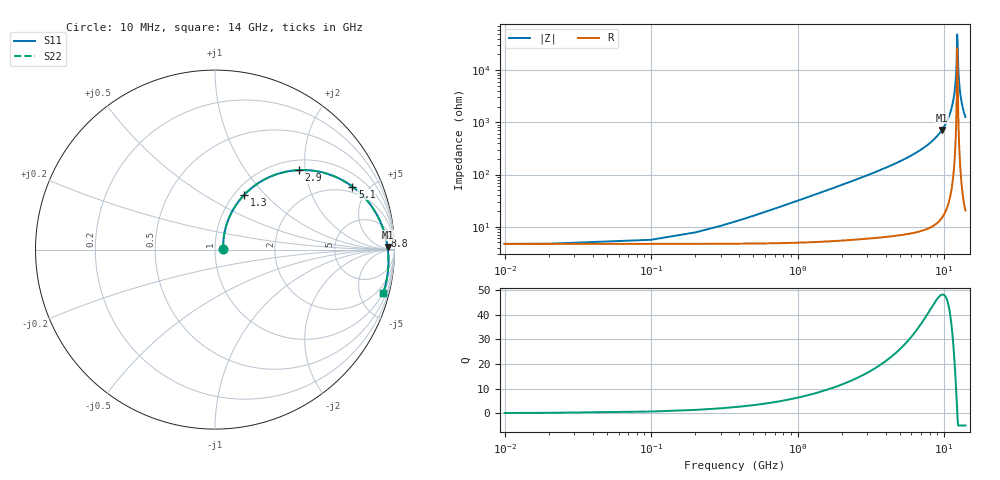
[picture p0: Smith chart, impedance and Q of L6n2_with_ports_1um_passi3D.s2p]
#  GHZ S DB R 50.0
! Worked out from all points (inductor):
!   142 points, 10 MHz to 14 GHz, reference 50 ohm
!   read as one part in series: L = 4.93 nH near 500 MHz
!   highest Q = 48.2 at 9.7 GHz (marker M1), where L = 11.8 nH
!   self-resonance near 12.3 GHz
!   S11 on the Smith chart (normalised r, x): 10 MHz: 1.09, +0.01; 1.3 GHz: 1.11, +0.77; 2.9 GHz: 1.22, +1.84; 5.1 GHz: 1.63, +3.93; 8.8 GHz: 11, +18; 14 GHz: 1.00, -7.69
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0.01  -26.96 3.3  -0.40 -0.2  -0.40 -0.2  -26.96 3.3
0.6  -15.39 65.8  -0.58 -10.7  -0.58 -10.7  -15.40 65.8
1.3  -9.17 61.8  -1.10 -22.1  -1.10 -22.1  -9.18 61.8
2.4  -4.91 49.0  -2.36 -37.6  -2.36 -37.6  -4.91 49.0
2.9  -3.83 43.5  -3.07 -43.5  -3.07 -43.5  -3.83 43.5
4.7  -1.75 27.6  -5.95 -60.5  -5.95 -60.5  -1.75 27.6
5.1  -1.49 24.7  -6.64 -63.5  -6.64 -63.5  -1.50 24.7
7.1  -0.72 12.7  -10.48 -75.9  -10.48 -75.9  -0.73 12.7
8.8  -0.43 4.7  -14.58 -84.1  -14.58 -84.1  -0.43 4.7
9.4  -0.37 2.1  -16.40 -86.7  -16.40 -86.7  -0.37 2.1
9.7  -0.34 0.9  -17.44 -87.9  -17.44 -87.9  -0.34 0.9
10.9  -0.28 -3.7  -23.07 -92.3  -23.07 -92.3  -0.28 -3.7
11.7  -0.26 -6.7  -30.35 -94.2  -30.35 -94.2  -0.26 -6.7
12.1  -0.25 -8.1  -39.02 -92.2  -39.02 -92.2  -0.25 -8.1
12.2  -0.25 -8.4  -43.76 -88.5  -43.76 -88.5  -0.25 -8.5
12.3  -0.25 -8.8  -53.99 -65.8  -53.99 -65.8  -0.25 -8.8
12.4  -0.25 -9.1  -49.90 61.5  -49.90 61.5  -0.25 -9.2
12.5  -0.25 -9.5  -42.21 72.8  -42.21 72.8  -0.25 -9.5
12.6  -0.25 -9.8  -38.15 75.5  -38.15 75.5  -0.26 -9.8
12.8  -0.26 -10.5  -33.32 76.9  -33.32 76.9  -0.26 -10.5
13.3  -0.26 -12.2  -27.08 76.6  -27.08 76.6  -0.27 -12.2
14  -0.28 -14.6  -22.46 74.7  -22.46 74.7  -0.29 -14.6
